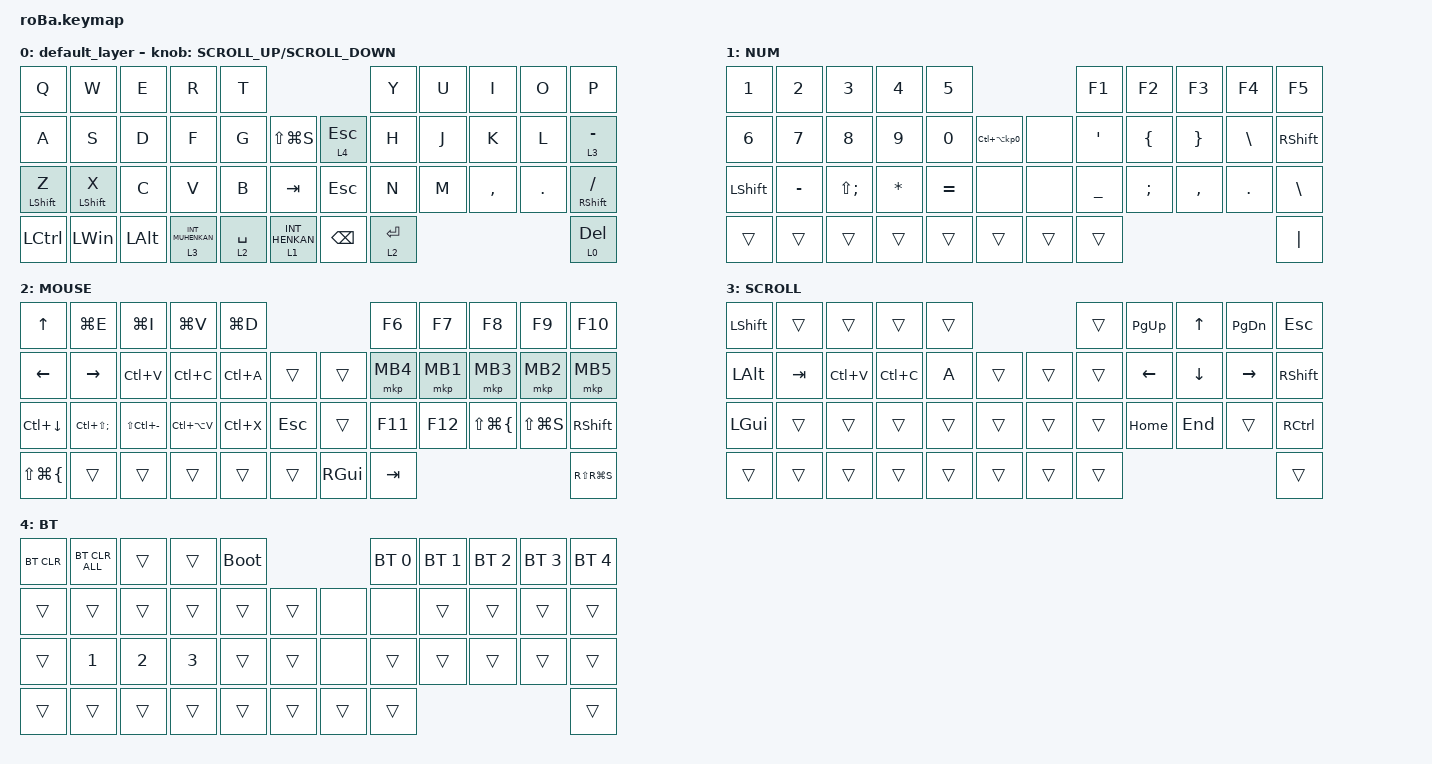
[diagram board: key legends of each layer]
#include <behaviors.dtsi>
#include <dt-bindings/zmk/bt.h>
#include <dt-bindings/zmk/keys.h>
#include <dt-bindings/zmk/pointing.h>

#define MOUSE 4
#define SCROLL 5
#define NUM 6

&mt {
    flavor = "balanced";
    quick-tap-ms = <0>;
};

/ {
    combos {
        compatible = "zmk,combos";

        tab {
            bindings = <&kp TAB>;
            key-positions = <11 12>;
        };

        shift_tab {
            bindings = <&kp LS(TAB)>;
            key-positions = <12 13>;
        };

        muhennkann {
            bindings = <&to_layer_0 INT_MUHENKAN>;
            key-positions = <11 10>;
        };

        double_quotation {
            bindings = <&kp DOUBLE_QUOTES>;
            key-positions = <20 21>;
        };

        eq {
            bindings = <&kp EQUAL>;
            key-positions = <24 25>;
        };
    };

    macros {
        to_layer_0: to_layer_0 {
            compatible = "zmk,behavior-macro-one-param";
            #binding-cells = <1>;
            bindings = <&to 0 &macro_param_1to1 &kp MACRO_PLACEHOLDER>;
            label = "TO_LAYER_0";
        };
    };

    behaviors {
        lt_to_layer_0: lt_to_layer_0 {
            compatible = "zmk,behavior-hold-tap";
            label = "LAYER_TAP_TO_0";
            bindings = <&mo>, <&to_layer_0>;

            #binding-cells = <2>;
            tapping-term-ms = <200>;
        };
    };

    keymap {
        compatible = "zmk,keymap";

        default_layer {
            bindings = <
&kp Q             &kp W             &kp E         &kp R                          &kp T                                                               &kp Y        &kp U  &kp I      &kp O    &kp P
&kp A             &kp S             &kp D         &kp F                          &kp G        &kp LS(LG(S))                    &lt_to_layer_0 4 ESC  &kp H        &kp J  &kp K      &kp L    &lt_to_layer_0 3 MINUS
&mt LEFT_SHIFT Z  &mt LEFT_SHIFT X  &kp C         &kp V                          &kp B        &kp TAB                          &kp ESCAPE            &kp N        &kp M  &kp COMMA  &kp DOT  &mt RIGHT_SHIFT SLASH
&kp LCTRL         &kp LEFT_WIN      &kp LEFT_ALT  &lt_to_layer_0 3 INT_MUHENKAN  &lt 2 SPACE  &lt_to_layer_0 1 INT_HENKAN      &kp BACKSPACE         &lt 2 ENTER                             &lt_to_layer_0 0 DELETE
            >;

            sensor-bindings = <&inc_dec_kp K_SCROLL_UP K_SCROLL_DOWN>;
        };

        NUM {
            bindings = <
&kp NUMBER_1    &kp NUMBER_2  &kp NUMBER_3       &kp NUMBER_4  &kp NUMBER_5                                       &kp F1          &kp F2          &kp F3           &kp F4         &kp F5
&kp NUMBER_6    &kp NUMBER_7  &kp NUMBER_8       &kp NUMBER_9  &kp NUMBER_0  &kp LC(LA(KP_NUMBER_0))      &none   &kp APOS        &kp LEFT_BRACE  &kp RIGHT_BRACE  &kp BACKSLASH  &kp RIGHT_SHIFT
&kp LEFT_SHIFT  &kp MINUS     &kp LS(SEMICOLON)  &kp ASTERISK  &kp EQUAL     &none                        &none   &kp UNDERSCORE  &kp SEMI        &kp COMMA        &kp PERIOD     &kp BACKSLASH
&trans          &trans        &trans             &trans        &trans        &trans                       &trans  &trans                                                          &kp PIPE
            >;
        };

        MOUSE {
            bindings = <
&kp UP_ARROW            &kp LG(E)              &kp LG(I)          &kp LG(V)      &kp LG(D)                                 &kp F6    &kp F7    &kp F8                  &kp F9         &kp F10
&kp LEFT_ARROW          &kp RIGHT_ARROW        &kp LC(V)          &kp LC(C)      &kp LC(A)  &trans          &trans         &mkp MB4  &mkp MB1  &mkp MB3                &mkp MB2       &mkp MB5
&kp LC(DOWN_ARROW)      &kp LC(LS(SEMICOLON))  &kp LS(LC(MINUS))  &kp LC(LA(V))  &kp LC(X)  &kp ESCAPE      &trans         &kp F11   &kp F12   &kp LS(LG(LEFT_BRACE))  &kp LS(LG(S))  &kp RIGHT_SHIFT
&kp LS(LG(LEFT_BRACE))  &trans                 &trans             &trans         &trans     &trans          &kp RIGHT_GUI  &kp TAB                                                    &kp RS(RG(S))
            >;
        };

        SCROLL {
            bindings = <
&kp LEFT_SHIFT  &trans   &trans     &trans     &trans                      &trans  &kp PAGE_UP     &kp UP_ARROW    &kp PAGE_DOWN    &kp ESCAPE
&kp LEFT_ALT    &kp TAB  &kp LC(V)  &kp LC(C)  &kp A   &trans      &trans  &trans  &kp LEFT_ARROW  &kp DOWN_ARROW  &kp RIGHT_ARROW  &kp RIGHT_SHIFT
&kp LEFT_GUI    &trans   &trans     &trans     &trans  &trans      &trans  &trans  &kp HOME        &kp END         &trans           &kp RCTRL
&trans          &trans   &trans     &trans     &trans  &trans      &trans  &trans                                                   &trans
            >;
        };

        BT {
            bindings = <
&bt BT_CLR  &bt BT_CLR_ALL  &trans        &trans        &bootloader                      &bt BT_SEL 0  &bt BT_SEL 1  &bt BT_SEL 2  &bt BT_SEL 3  &bt BT_SEL 4
&trans      &trans          &trans        &trans        &trans       &trans      &none   &none         &trans        &trans        &trans        &trans
&trans      &kp NUMBER_1    &kp NUMBER_2  &kp NUMBER_3  &trans       &trans      &none   &trans        &trans        &trans        &trans        &trans
&trans      &trans          &trans        &trans        &trans       &trans      &trans  &trans                                                  &trans
            >;
        };
    };
};
